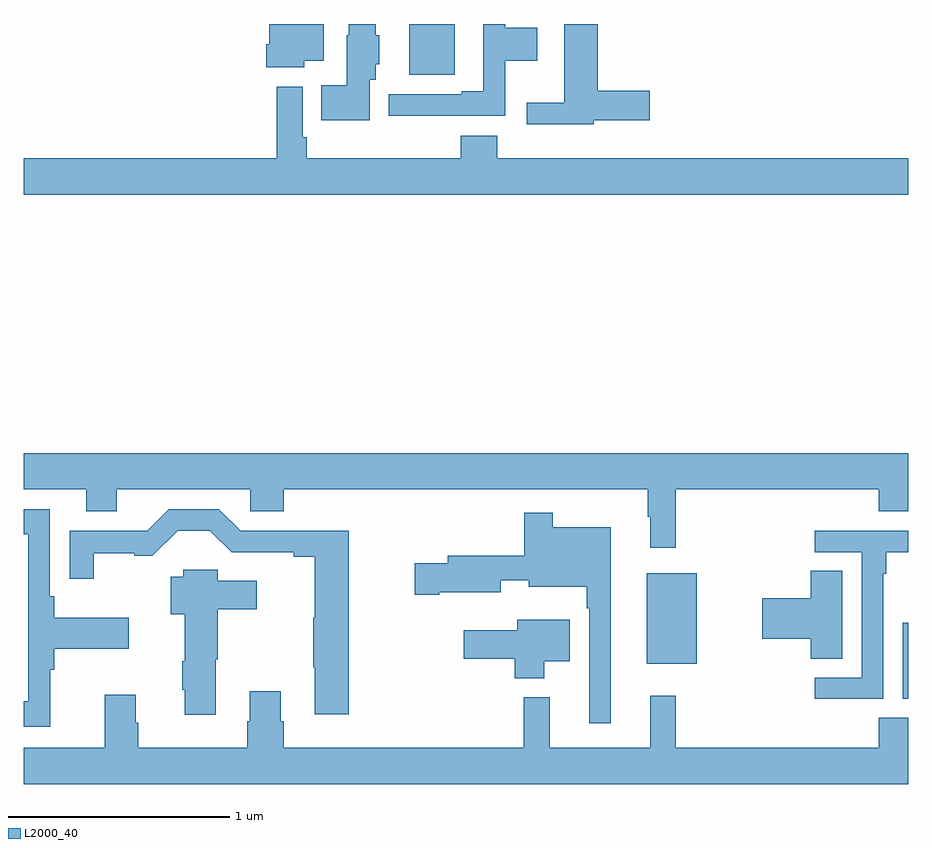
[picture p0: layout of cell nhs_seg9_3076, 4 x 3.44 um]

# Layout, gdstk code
import gdstk
lib = gdstk.Library(unit=1e-6, precision=1e-09)
def R(c, l, rs):  # rectangles x0, y0, x1, y1
    for r in rs: c.add(gdstk.rectangle(r[:2], r[2:], *l))
def P(c, l, *ps):  # polygons
    for p in ps: c.add(gdstk.Polygon(p, *l))
L2000_40 = (2000, 40)

nhs_seg9_3076 = lib.new_cell('nhs_seg9_3076')
R(nhs_seg9_3076, L2000_40, [(290.975,1219.449,291,1219.792), (289.817,1219.607,290.044,1220.017), (288.743,1222.271,288.949,1222.5)])
P(nhs_seg9_3076, L2000_40, [(288.268,1222.334),(288.358,1222.334),(288.358,1222.5),(288.11,1222.5),(288.11,1222.408),(288.098,1222.408),(288.098,1222.304),(288.268,1222.304)],
  [(288.893,1222.086),(289.178,1222.086),(289.178,1222.334),(289.321,1222.334),(289.321,1222.482),(289.178,1222.482),(289.178,1222.5),(289.077,1222.5),(289.077,1222.195),(288.98,1222.195),(288.98,1222.182),(288.651,1222.182),(288.651,1222.085),(288.893,1222.085)],
  [(288.565,1222.248),(288.592,1222.248),(288.592,1222.317),(288.607,1222.317),(288.607,1222.449),(288.592,1222.449),(288.592,1222.5),(288.47,1222.5),(288.47,1222.449),(288.461,1222.449),(288.461,1222.222),(288.346,1222.222),(288.346,1222.064),(288.565,1222.064)],
  [(289.578,1222.064),(289.831,1222.064),(289.831,1222.199),(289.595,1222.199),(289.595,1222.5),(289.445,1222.5),(289.445,1222.145),(289.275,1222.145),(289.275,1222.046),(289.578,1222.046)],
  [(291,1221.892),(289.142,1221.892),(289.142,1221.994),(288.977,1221.994),(288.977,1221.892),(288.281,1221.892),(288.281,1221.988),(288.261,1221.988),(288.261,1222.216),(288.145,1222.216),(288.145,1221.892),(287,1221.892),(287,1221.728),(291,1221.728)],
  [(287,1220.396),(287.282,1220.396),(287.282,1220.297),(287.422,1220.297),(287.422,1220.396),(288.024,1220.396),(288.024,1220.298),(288.176,1220.298),(288.176,1220.396),(289.821,1220.396),(289.821,1220.273),(289.832,1220.273),(289.832,1220.133),(289.949,1220.133),(289.949,1220.396),(290.867,1220.396),(290.867,1220.297),(291,1220.297),(291,1220.56),(287,1220.56)],
  [(288.47,1220.21),(288.221,1220.21),(288.221,1220.208),(287.982,1220.208),(287.883,1220.307),(287.655,1220.307),(287.558,1220.21),(287.208,1220.21),(287.208,1219.992),(287.317,1219.992),(287.317,1220.107),(287.501,1220.107),(287.501,1220.095),(287.582,1220.095),(287.697,1220.21),(287.842,1220.21),(287.94,1220.112),(288.221,1220.112),(288.221,1220.092),(288.317,1220.092),(288.317,1219.815),(288.31,1219.815),(288.31,1219.592),(288.317,1219.592),(288.317,1219.38),(288.47,1219.38)],
  [(287.121,1219.58),(287.138,1219.58),(287.138,1219.676),(287.476,1219.676),(287.476,1219.816),(287.138,1219.816),(287.138,1219.912),(287.118,1219.912),(287.118,1220.307),(287,1220.307),(287,1220.193),(287.022,1220.193),(287.022,1219.439),(287,1219.439),(287,1219.323),(287.121,1219.323)],
  [(289.654,1220.224),(289.393,1220.224),(289.393,1220.29),(289.264,1220.29),(289.264,1220.095),(288.917,1220.095),(288.917,1220.061),(288.768,1220.061),(288.768,1219.919),(288.88,1219.919),(288.88,1219.931),(289.156,1219.931),(289.156,1219.985),(289.283,1219.985),(289.283,1219.955),(289.545,1219.955),(289.545,1219.859),(289.557,1219.859),(289.557,1219.338),(289.654,1219.338)],
  [(290.886,1220.015),(290.899,1220.015),(290.899,1220.111),(291,1220.111),(291,1220.208),(290.577,1220.208),(290.577,1220.112),(290.79,1220.112),(290.79,1219.545),(290.577,1219.545),(290.577,1219.449),(290.886,1219.449)],
  [(287.869,1219.628),(287.877,1219.628),(287.877,1219.855),(288.055,1219.855),(288.055,1219.984),(287.877,1219.984),(287.877,1220.032),(287.722,1220.032),(287.722,1220.002),(287.666,1220.002),(287.666,1219.832),(287.729,1219.832),(287.729,1219.619),(287.717,1219.619),(287.717,1219.489),(287.729,1219.489),(287.729,1219.377),(287.869,1219.377)],
  [(290.701,1220.027),(290.558,1220.027),(290.558,1219.904),(290.34,1219.904),(290.34,1219.721),(290.558,1219.721),(290.558,1219.63),(290.701,1219.63)],
  [(289.354,1219.619),(289.468,1219.619),(289.468,1219.807),(289.232,1219.807),(289.232,1219.759),(288.99,1219.759),(288.99,1219.63),(289.22,1219.63),(289.22,1219.541),(289.354,1219.541)],
  [(291,1219.363),(290.867,1219.363),(290.867,1219.228),(289.949,1219.228),(289.949,1219.462),(289.832,1219.462),(289.832,1219.228),(289.379,1219.228),(289.379,1219.456),(289.261,1219.456),(289.261,1219.228),(288.176,1219.228),(288.176,1219.347),(288.163,1219.347),(288.163,1219.483),(288.023,1219.483),(288.023,1219.347),(288.011,1219.347),(288.011,1219.228),(287.519,1219.228),(287.519,1219.34),(287.506,1219.34),(287.506,1219.468),(287.366,1219.468),(287.366,1219.228),(287,1219.228),(287,1219.064),(291,1219.064)])

lib.write_gds('nhs_seg9_3076.gds')
